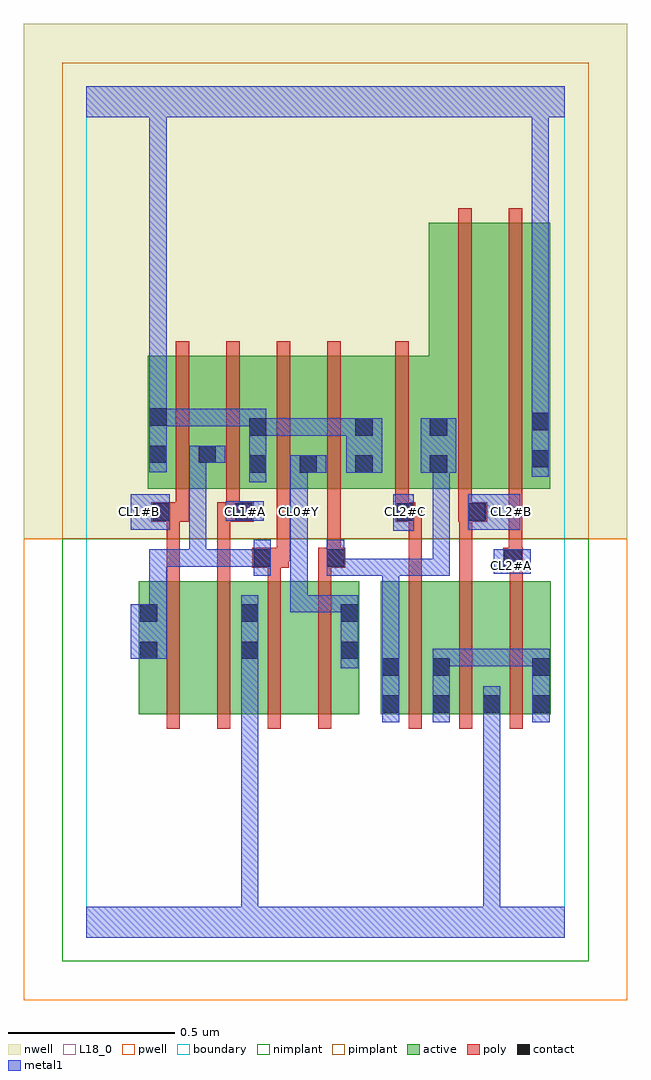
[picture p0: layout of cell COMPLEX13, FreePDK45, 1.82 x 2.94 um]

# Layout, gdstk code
import gdstk
lib = gdstk.Library(unit=1e-6, precision=1e-09)
def R(c, l, rs):  # rectangles x0, y0, x1, y1
    for r in rs: c.add(gdstk.rectangle(r[:2], r[2:], *l))
def A(c, l, x, y, w, h, nx, ny, dx, dy):  # array of equal rectangles
    R(c, l, [(x+i*dx, y+j*dy, x+i*dx+w, y+j*dy+h) for i in range(nx) for j in range(ny)])
active = (1, 0)
pwell = (2, 0)
nwell = (3, 0)
nimplant = (4, 0)
pimplant = (5, 0)
poly = (9, 0)
contact = (10, 0)
metal1 = (11, 0)
L18_0 = (18, 0)
boundary = (235, 0)

complex13 = lib.new_cell('COMPLEX13')
A(complex13, active, 0.334, 1.35, 0.06, 0.4, 3, 1, 0.152, 0)
R(complex13, active, [(0.158,0.672,0.218,1.072), (0.158,0.672,0.338,1.072), (0.338,0.672,0.522,1.072), (0.462,0.672,0.642,1.072), (0.642,0.672,0.822,1.072), (0.762,0.672,0.822,1.072), (0.886,0.672,0.946,1.072), (0.886,0.672,1.098,1.072), (1.038,0.672,1.098,1.072), (1.038,0.672,1.25,1.072), (1.19,0.672,1.398,1.072), (1.19,0.672,1.25,0.93), (1.338,0.672,1.398,1.072), (0.462,0.756,0.522,1.006), (0.186,1.35,0.246,1.75), (0.186,1.35,0.394,1.75), (0.334,1.35,0.546,1.75), (0.486,1.35,0.698,1.75), (0.638,1.35,0.866,1.75), (0.806,1.35,1.09,1.75), (1.03,1.35,1.09,2.15), (1.03,1.35,1.216,2.15), (1.216,1.35,1.396,2.15), (1.336,1.35,1.396,2.15), (0.806,1.394,0.866,1.644)])
R(complex13, pwell, [(-0.188,-0.188,1.628,1.2)])
R(complex13, nwell, [(-0.188,1.2,1.628,2.748)])
R(complex13, nimplant, [(-0.072,-0.072,1.512,1.2)])
R(complex13, pimplant, [(-0.072,1.2,1.512,2.632)])
A(complex13, poly, 0.242, 0.628, 0.04, 0.488, 4, 1, 0.152, 0)
A(complex13, poly, 0.97, 0.628, 0.04, 0.488, 3, 1, 0.152, 0)
A(complex13, poly, 0.27, 1.306, 0.04, 0.488, 4, 1, 0.152, 0)
R(complex13, poly, [(0.242,1.076,0.282,1.29), (0.394,1.076,0.434,1.29), (0.546,1.076,0.586,1.152), (0.698,1.076,0.738,1.152), (0.97,1.076,1.01,1.29), (1.122,1.076,1.162,1.29), (1.274,1.076,1.314,1.152), (0.5,1.112,0.61,1.172), (0.698,1.112,0.78,1.172), (1.254,1.112,1.314,1.172), (0.57,1.132,0.61,1.172), (0.57,1.132,0.614,1.172), (0.574,1.132,0.614,1.346), (0.726,1.132,0.766,1.346), (0.726,1.132,0.766,1.172), (0.726,1.132,0.766,1.172), (1.272,1.132,1.312,1.346), (1.272,1.132,1.312,1.172), (1.272,1.132,1.312,1.172), (0.196,1.25,0.31,1.31), (0.242,1.25,0.282,1.29), (0.242,1.25,0.282,1.29), (0.394,1.25,0.434,1.29), (0.394,1.25,0.434,1.29), (0.394,1.25,0.504,1.31), (0.93,1.25,0.99,1.31), (0.95,1.25,0.99,1.29), (0.95,1.25,1.01,1.29), (1.12,1.25,1.206,1.31), (1.122,1.25,1.162,1.29), (1.122,1.25,1.162,1.29), (0.27,1.27,0.31,1.346), (0.422,1.27,0.462,1.346), (0.93,1.27,0.97,1.346), (1.12,1.27,1.16,1.346), (0.93,1.306,0.97,1.794), (1.12,1.306,1.16,2.194), (1.272,1.306,1.312,2.194)])
A(complex13, contact, 0.89, 0.676, 0.052, 0.052, 3, 1, 0.152, 0)
R(complex13, contact, [(1.342,0.676,1.394,0.728), (0.89,0.788,0.942,0.84), (1.042,0.788,1.094,0.84), (1.342,0.788,1.394,0.84), (0.162,0.838,0.214,0.89), (0.466,0.838,0.518,0.89), (0.766,0.838,0.818,0.89), (0.162,0.95,0.214,1.002), (0.466,0.95,0.518,1.002), (0.766,0.95,0.818,1.002), (0.504,1.116,0.556,1.168), (0.724,1.116,0.776,1.168), (1.258,1.116,1.31,1.168), (0.2,1.254,0.252,1.306), (0.448,1.254,0.5,1.306), (0.934,1.254,0.986,1.306), (1.15,1.254,1.202,1.306), (0.49,1.398,0.542,1.45), (0.642,1.398,0.694,1.45), (0.81,1.398,0.862,1.45), (1.034,1.398,1.086,1.45), (1.34,1.414,1.392,1.466), (0.19,1.428,0.242,1.48), (0.338,1.428,0.39,1.48), (0.49,1.51,0.542,1.562), (0.81,1.51,0.862,1.562), (1.034,1.51,1.086,1.562), (1.34,1.526,1.392,1.578), (0.19,1.54,0.242,1.592)])
R(complex13, metal1, [(0,0,1.44,0.092), (0.466,0.04,0.518,0.862), (1.194,0.04,1.246,0.092), (1.194,0.04,1.246,0.092), (1.194,0.04,1.246,0.092), (1.194,0.04,1.246,0.092), (1.194,0.04,1.246,0.092), (1.194,0.04,1.246,0.092), (1.194,0.04,1.246,0.7), (0.89,0.648,0.942,0.868), (1.042,0.648,1.094,0.868), (1.194,0.648,1.246,0.7), (1.194,0.648,1.246,0.7), (1.194,0.648,1.246,0.7), (1.194,0.648,1.246,0.7), (1.194,0.648,1.246,0.7), (1.194,0.648,1.246,0.7), (1.194,0.648,1.246,0.756), (1.342,0.648,1.394,0.868), (0.466,0.81,0.518,0.862), (0.466,0.81,0.518,0.862), (0.466,0.81,0.518,0.862), (0.466,0.81,0.518,0.862), (0.466,0.81,0.518,0.862), (0.466,0.81,0.518,0.862), (0.466,0.81,0.518,0.862), (0.466,0.81,0.518,0.862), (0.466,0.81,0.518,0.862), (0.466,0.81,0.518,0.862), (0.466,0.81,0.518,0.862), (0.466,0.81,0.518,0.862), (0.466,0.81,0.518,1.03), (0.766,0.81,0.818,1.03), (0.89,0.816,0.942,1.14), (1.042,0.816,1.096,0.868), (1.044,0.816,1.096,0.868), (1.044,0.816,1.282,0.868), (1.23,0.816,1.282,0.868), (1.23,0.816,1.394,0.868), (1.342,0.816,1.394,0.868), (1.342,0.816,1.394,0.868), (0.134,0.838,0.242,1.002), (0.19,0.95,0.242,1.168), (0.614,0.978,0.666,1.03), (0.614,0.978,0.666,1.03), (0.614,0.978,0.666,1.03), (0.614,0.978,0.818,1.03), (0.614,0.978,0.666,1.278), (0.504,1.088,0.556,1.196), (0.724,1.088,0.776,1.14), (0.724,1.088,0.776,1.14), (0.724,1.088,0.776,1.196), (0.724,1.088,0.942,1.14), (0.89,1.088,0.942,1.14), (0.89,1.088,0.942,1.14), (0.89,1.088,0.942,1.14), (0.89,1.088,1.094,1.14), (1.042,1.088,1.094,1.14), (1.042,1.088,1.094,1.45), (1.226,1.094,1.338,1.168), (0.19,1.116,0.242,1.168), (0.19,1.116,0.242,1.168), (0.19,1.116,0.242,1.168), (0.19,1.116,0.362,1.168), (0.31,1.116,0.362,1.168), (0.31,1.116,0.362,1.168), (0.31,1.116,0.362,1.168), (0.31,1.116,0.362,1.168), (0.31,1.116,0.362,1.168), (0.31,1.116,0.556,1.168), (0.31,1.116,0.362,1.48), (0.504,1.116,0.556,1.168), (0.504,1.116,0.556,1.168), (0.924,1.224,0.986,1.334), (0.134,1.226,0.252,1.334), (0.614,1.226,0.666,1.334), (1.15,1.226,1.306,1.334), (0.42,1.254,0.534,1.312), (0.614,1.282,0.666,1.45), (0.49,1.37,0.542,1.59), (1.34,1.386,1.392,1.606), (0.614,1.398,0.666,1.45), (0.614,1.398,0.666,1.45), (0.614,1.398,0.722,1.45), (0.782,1.398,0.89,1.562), (1.006,1.398,1.114,1.562), (1.042,1.398,1.094,1.45), (1.042,1.398,1.094,1.45), (0.19,1.4,0.242,1.62), (0.31,1.428,0.418,1.48), (0.49,1.51,0.542,1.562), (0.49,1.51,0.542,1.562), (0.49,1.51,0.666,1.562), (0.614,1.51,0.666,1.562), (0.614,1.51,0.666,1.562), (0.614,1.51,0.666,1.562), (0.614,1.51,0.834,1.562), (0.19,1.538,0.242,1.59), (0.19,1.538,0.242,1.59), (0.19,1.538,0.362,1.59), (0.31,1.538,0.362,1.59), (0.31,1.538,0.362,1.59), (0.31,1.538,0.362,1.59), (0.31,1.538,0.542,1.59), (1.34,1.554,1.392,1.606), (1.34,1.554,1.392,1.606), (1.34,1.554,1.392,1.606), (1.34,1.554,1.392,1.606), (1.34,1.554,1.392,2.52), (0.19,1.568,0.242,1.62), (0.19,1.568,0.242,1.62), (0.19,1.568,0.242,1.62), (0.19,1.568,0.242,1.62), (0.19,1.568,0.242,1.62), (0.19,1.568,0.242,1.62), (0.19,1.568,0.242,1.62), (0.19,1.568,0.242,1.62), (0.19,1.568,0.242,1.62), (0.19,1.568,0.242,1.62), (0.19,1.568,0.242,1.62), (0.19,1.568,0.242,1.62), (0.19,1.568,0.242,2.52), (0,2.468,1.44,2.56), (0.19,2.468,0.242,2.52), (0.19,2.468,0.242,2.52), (0.19,2.468,0.242,2.52), (0.19,2.468,0.242,2.52), (1.34,2.468,1.392,2.52), (1.34,2.468,1.392,2.52), (1.34,2.468,1.392,2.52), (1.34,2.468,1.392,2.52)])
A(complex13, L18_0, 0.614, 1.254, 0.052, 0.052, 3, 1, 0.32, 0)
R(complex13, L18_0, [(0,0,1.44,0.092), (0.466,0.04,0.518,0.862), (1.194,0.04,1.246,0.092), (1.194,0.04,1.246,0.092), (1.194,0.04,1.246,0.092), (1.194,0.04,1.246,0.092), (1.194,0.04,1.246,0.092), (1.194,0.04,1.246,0.092), (1.194,0.04,1.246,0.7), (1.194,0.648,1.246,0.7), (1.194,0.648,1.246,0.7), (1.194,0.648,1.246,0.7), (1.194,0.648,1.246,0.7), (1.194,0.648,1.246,0.7), (1.194,0.648,1.246,0.7), (1.194,0.648,1.246,0.756), (0.466,0.81,0.518,1.03), (0.466,0.81,0.518,0.862), (0.466,0.81,0.518,0.862), (0.466,0.81,0.518,0.862), (0.466,0.81,0.518,0.862), (0.466,0.81,0.518,0.862), (0.466,0.81,0.518,0.862), (0.466,0.81,0.518,0.862), (0.466,0.81,0.518,0.862), (0.466,0.81,0.518,0.862), (0.466,0.81,0.518,0.862), (0.466,0.81,0.518,0.862), (0.466,0.81,0.518,0.862), (0.766,0.81,0.818,1.03), (0.614,0.978,0.666,1.03), (0.614,0.978,0.666,1.03), (0.614,0.978,0.666,1.03), (0.614,0.978,0.666,1.278), (0.614,0.978,0.818,1.03), (1.226,1.094,1.338,1.168), (1.254,1.094,1.306,1.146), (0.924,1.224,0.986,1.334), (0.134,1.226,0.252,1.334), (0.614,1.226,0.666,1.334), (1.15,1.226,1.306,1.334), (0.134,1.254,0.186,1.306), (0.42,1.254,0.534,1.312), (0.454,1.254,0.506,1.306), (0.614,1.282,0.666,1.45), (0.49,1.37,0.542,1.59), (1.34,1.386,1.392,1.606), (0.614,1.398,0.666,1.45), (0.614,1.398,0.666,1.45), (0.614,1.398,0.722,1.45), (0.782,1.398,0.89,1.562), (0.19,1.4,0.242,1.62), (0.49,1.51,0.542,1.562), (0.49,1.51,0.542,1.562), (0.49,1.51,0.666,1.562), (0.614,1.51,0.666,1.562), (0.614,1.51,0.666,1.562), (0.614,1.51,0.666,1.562), (0.614,1.51,0.834,1.562), (0.19,1.538,0.242,1.59), (0.19,1.538,0.242,1.59), (0.19,1.538,0.362,1.59), (0.31,1.538,0.362,1.59), (0.31,1.538,0.362,1.59), (0.31,1.538,0.362,1.59), (0.31,1.538,0.542,1.59), (1.34,1.554,1.392,1.606), (1.34,1.554,1.392,1.606), (1.34,1.554,1.392,1.606), (1.34,1.554,1.392,1.606), (1.34,1.554,1.392,2.52), (0.19,1.568,0.242,1.62), (0.19,1.568,0.242,1.62), (0.19,1.568,0.242,1.62), (0.19,1.568,0.242,1.62), (0.19,1.568,0.242,1.62), (0.19,1.568,0.242,1.62), (0.19,1.568,0.242,1.62), (0.19,1.568,0.242,1.62), (0.19,1.568,0.242,1.62), (0.19,1.568,0.242,1.62), (0.19,1.568,0.242,1.62), (0.19,1.568,0.242,1.62), (0.19,1.568,0.242,2.52), (0,2.468,1.44,2.56), (0.19,2.468,0.242,2.52), (0.19,2.468,0.242,2.52), (0.19,2.468,0.242,2.52), (0.19,2.468,0.242,2.52), (1.34,2.468,1.392,2.52), (1.34,2.468,1.392,2.52), (1.34,2.468,1.392,2.52), (1.34,2.468,1.392,2.52)])
R(complex13, boundary, [(0,0,1.44,2.56)])
complex13.add(gdstk.Label('CL0#Y', (0.64,1.28), layer=11, texttype=0))
complex13.add(gdstk.Label('CL1#A', (0.48,1.28), layer=11, texttype=0))
complex13.add(gdstk.Label('CL1#B', (0.16,1.28), layer=11, texttype=0))
complex13.add(gdstk.Label('CL2#A', (1.28,1.12), layer=11, texttype=0))
complex13.add(gdstk.Label('CL2#B', (1.28,1.28), layer=11, texttype=0))
complex13.add(gdstk.Label('CL2#C', (0.96,1.28), layer=11, texttype=0))

lib.write_gds('COMPLEX13.gds')
